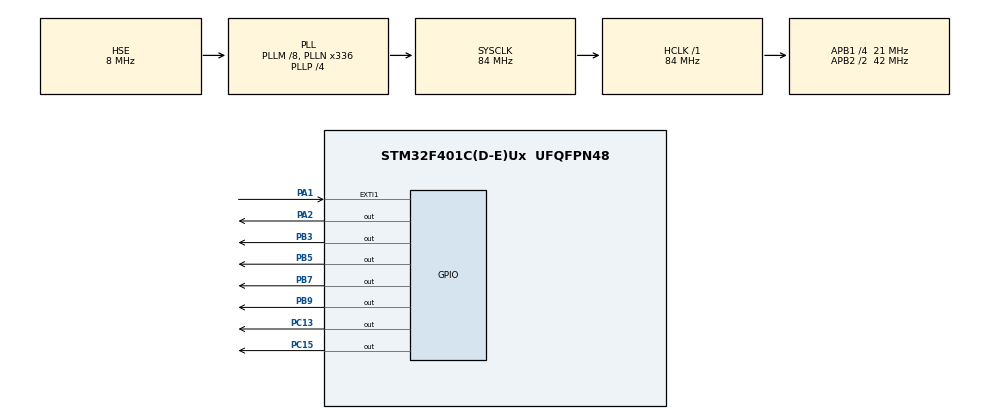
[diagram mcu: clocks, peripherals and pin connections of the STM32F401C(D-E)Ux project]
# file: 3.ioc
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Mcu.Family=STM32F4
Mcu.Name=STM32F401C(D-E)Ux
Mcu.Package=UFQFPN48
NVIC.EXTI1_IRQn=true\:0\:0\:false\:false\:true\:true\:true
NVIC.PriorityGroup=NVIC_PRIORITYGROUP_4
PA1.Signal=GPXTI1
PA2.Signal=GPIO_Output
PB3.Signal=GPIO_Output
PB5.Signal=GPIO_Output
PB7.Signal=GPIO_Output
PB9.PinState=GPIO_PIN_SET
PB9.Signal=GPIO_Output
PC13-ANTI_TAMP.Signal=GPIO_Output
PC15-OSC32_OUT.Signal=GPIO_Output
PH0\ -\ OSC_IN.Mode=HSE-External-Oscillator
PH0\ -\ OSC_IN.Signal=RCC_OSC_IN
PH1\ -\ OSC_OUT.Mode=HSE-External-Oscillator
PH1\ -\ OSC_OUT.Signal=RCC_OSC_OUT
ProjectManager.HeapSize=0x200
ProjectManager.StackSize=0x400
ProjectManager.TargetToolchain=Makefile
RCC.48MHZClocksFreq_Value=84000000
RCC.AHBFreq_Value=84000000
RCC.APB1CLKDivider=RCC_HCLK_DIV4
RCC.APB1Freq_Value=21000000
RCC.APB1TimFreq_Value=42000000
RCC.APB2CLKDivider=RCC_HCLK_DIV2
RCC.APB2Freq_Value=42000000
RCC.APB2TimFreq_Value=84000000
RCC.CortexFreq_Value=84000000
RCC.HCLKFreq_Value=84000000
RCC.HSE_VALUE=8000000
RCC.HSI_VALUE=16000000
RCC.LSE_VALUE=32768
RCC.PLLM=8
RCC.PLLN=336
RCC.PLLP=RCC_PLLP_DIV4
RCC.PLLSourceVirtual=RCC_PLLSOURCE_HSE
RCC.SYSCLKFreq_VALUE=84000000
RCC.SYSCLKSource=RCC_SYSCLKSOURCE_PLLCLK
RCC.VCOOutputFreq_Value=336000000
board=custom

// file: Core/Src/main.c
/* USER CODE BEGIN Header */
/**
 ******************************************************************************
 * @file           : main.c
 * @brief          : Main program body
 ******************************************************************************
 * @attention
 *
 * Copyright (c) 2022 STMicroelectronics.
 * All rights reserved.
 *
 * This software is licensed under terms that can be found in the LICENSE file
 * in the root directory of this software component.
 * If no LICENSE file comes with this software, it is provided AS-IS.
 *
 ******************************************************************************
 */
/* USER CODE END Header */
#include "main.h"
#include "gpio.h"

void SystemClock_Config(void);

int main(void)
{

  /* MCU Configuration--------------------------------------------------------*/

  /* Reset of all peripherals, Initializes the Flash interface and the Systick. */
  HAL_Init();

  /* Configure the system clock */
  SystemClock_Config();

  /* Initialize all configured peripherals */
  MX_GPIO_Init();

  /* Infinite loop */
  /* USER CODE BEGIN WHILE */
  while (1)
  {
    HAL_GPIO_TogglePin(GPIOA, GPIO_PIN_2);
    HAL_Delay(500);
    HAL_GPIO_TogglePin(GPIOA, GPIO_PIN_2);
    HAL_Delay(500);
    HAL_GPIO_TogglePin(GPIOB, GPIO_PIN_3);
    HAL_Delay(500);
    HAL_GPIO_TogglePin(GPIOB, GPIO_PIN_3);
    HAL_Delay(500);
    HAL_GPIO_TogglePin(GPIOB, GPIO_PIN_5);
    HAL_Delay(500);
    HAL_GPIO_TogglePin(GPIOB, GPIO_PIN_5);
    HAL_Delay(500);
    HAL_GPIO_TogglePin(GPIOB, GPIO_PIN_7);
    HAL_Delay(500);
    HAL_GPIO_TogglePin(GPIOB, GPIO_PIN_7);
    HAL_Delay(500);
    HAL_GPIO_TogglePin(GPIOB, GPIO_PIN_9);
    HAL_Delay(500);
    HAL_GPIO_TogglePin(GPIOB, GPIO_PIN_9);
    HAL_Delay(500);
    /* USER CODE END WHILE */
  }
}

void SystemClock_Config(void)
{
  RCC_OscInitTypeDef RCC_OscInitStruct = {0};
  RCC_ClkInitTypeDef RCC_ClkInitStruct = {0};

  /** Configure the main internal regulator output voltage
   */
  __HAL_RCC_PWR_CLK_ENABLE();
  __HAL_PWR_VOLTAGESCALING_CONFIG(PWR_REGULATOR_VOLTAGE_SCALE2);
  /** Initializes the RCC Oscillators according to the specified parameters
   * in the RCC_OscInitTypeDef structure.
   */
  RCC_OscInitStruct.OscillatorType = RCC_OSCILLATORTYPE_HSE;
  RCC_OscInitStruct.HSEState = RCC_HSE_ON;
  RCC_OscInitStruct.PLL.PLLState = RCC_PLL_ON;
  RCC_OscInitStruct.PLL.PLLSource = RCC_PLLSOURCE_HSE;
  RCC_OscInitStruct.PLL.PLLM = 8;
  RCC_OscInitStruct.PLL.PLLN = 336;
  RCC_OscInitStruct.PLL.PLLP = RCC_PLLP_DIV4;
  RCC_OscInitStruct.PLL.PLLQ = 4;
  if (HAL_RCC_OscConfig(&RCC_OscInitStruct) != HAL_OK)
  {
    Error_Handler();
  }
  /** Initializes the CPU, AHB and APB buses clocks
   */
  RCC_ClkInitStruct.ClockType = RCC_CLOCKTYPE_HCLK | RCC_CLOCKTYPE_SYSCLK | RCC_CLOCKTYPE_PCLK1 | RCC_CLOCKTYPE_PCLK2;
  RCC_ClkInitStruct.SYSCLKSource = RCC_SYSCLKSOURCE_PLLCLK;
  RCC_ClkInitStruct.AHBCLKDivider = RCC_SYSCLK_DIV1;
  RCC_ClkInitStruct.APB1CLKDivider = RCC_HCLK_DIV4;
  RCC_ClkInitStruct.APB2CLKDivider = RCC_HCLK_DIV2;

  if (HAL_RCC_ClockConfig(&RCC_ClkInitStruct, FLASH_LATENCY_2) != HAL_OK)
  {
    Error_Handler();
  }
}

void Error_Handler(void)
{
  __disable_irq();
  while (1)
  {
  }
}
